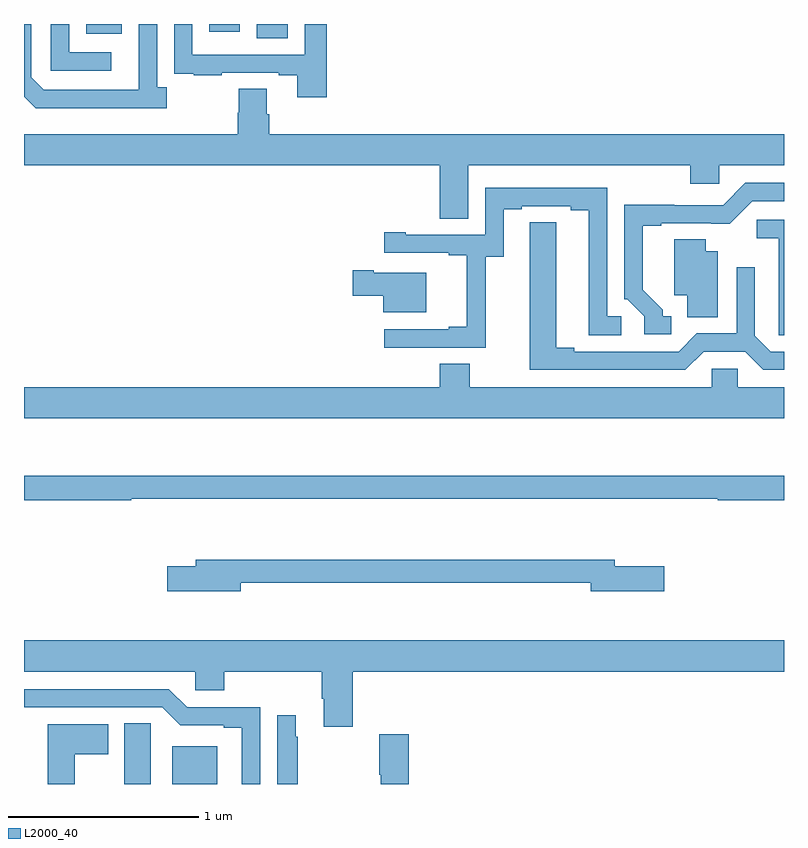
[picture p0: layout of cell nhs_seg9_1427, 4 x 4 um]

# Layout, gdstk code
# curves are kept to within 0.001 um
import gdstk
lib = gdstk.Library(unit=1e-6, precision=1e-09)
def R(c, l, rs):  # rectangles x0, y0, x1, y1
    for r in rs: c.add(gdstk.rectangle(r[:2], r[2:], *l))
def P(c, l, *ps):  # polygons
    for p in ps: c.add(gdstk.Polygon(p, *l))
L2000_40 = (2000, 40)

nhs_seg9_1427 = lib.new_cell('nhs_seg9_1427')
R(nhs_seg9_1427, L2000_40, [(191.78,1190.5,192.016,1190.698), (192.224,1194.424,192.388,1194.5), (191.327,1194.449,191.515,1194.5), (191.975,1194.459,192.136,1194.5)])
P(nhs_seg9_1427, L2000_40, [(192.593,1194.5),(192.477,1194.5),(192.477,1194.339),(191.886,1194.339),(191.886,1194.5),(191.79,1194.5),(191.79,1194.346),(191.791,1194.346),(191.791,1194.237),(191.893,1194.237),(191.893,1194.231),(192.041,1194.231),(192.041,1194.243),(192.341,1194.243),(192.341,1194.231),(192.437,1194.231),(192.437,1194.114),(192.593,1194.114)],
  [(191.458,1194.351),(191.238,1194.351),(191.238,1194.5),(191.142,1194.5),(191.142,1194.255),(191.458,1194.255)],
  [(191.752,1194.166),(191.7,1194.166),(191.7,1194.5),(191.604,1194.5),(191.603,1194.153),(191.103,1194.153),(191.037,1194.219),(191.037,1194.5),(191,1194.5),(191,1194.118),(191.062,1194.056),(191.752,1194.056)],
  [(193.339,1193.756),(194.507,1193.756),(194.507,1193.658),(194.658,1193.658),(194.658,1193.756),(195,1193.756),(195,1193.92),(192.29,1193.92),(192.29,1194.026),(192.277,1194.026),(192.277,1194.158),(192.13,1194.158),(192.13,1194.033),(192.125,1194.033),(192.125,1193.92),(191,1193.92),(191,1193.756),(193.187,1193.756),(193.187,1193.476),(193.339,1193.476)],
  [(194.407,1192.962),(194.362,1192.962),(194.362,1192.997),(194.257,1193.102),(194.257,1193.439),(194.353,1193.439),(194.353,1193.451),(194.714,1193.45),(194.832,1193.568),(195,1193.568),(195,1193.664),(194.796,1193.664),(194.679,1193.547),(194.423,1193.547),(194.423,1193.549),(194.16,1193.549),(194.16,1193.052),(194.175,1193.052),(194.265,1192.962),(194.265,1192.866),(194.407,1192.866)],
  [(193.431,1193.275),(193.525,1193.275),(193.525,1193.526),(193.621,1193.526),(193.621,1193.541),(193.877,1193.541),(193.877,1193.521),(193.973,1193.521),(193.973,1192.861),(194.143,1192.861),(194.143,1192.962),(194.07,1192.962),(194.07,1193.637),(193.428,1193.637),(193.428,1193.391),(193.009,1193.391),(193.009,1193.404),(192.897,1193.404),(192.897,1193.295),(193.235,1193.295),(193.235,1193.283),(193.331,1193.283),(193.331,1192.906),(193.235,1192.906),(193.235,1192.893),(192.897,1192.893),(192.897,1192.797),(193.431,1192.797)],
  [(195,1193.469),(194.856,1193.469),(194.856,1193.372),(194.972,1193.372),(194.972,1192.969),(194.973,1192.969),(194.973,1192.861),(195,1192.861)],
  [(194.577,1192.776),(194.795,1192.776),(194.891,1192.68),(195,1192.68),(195,1192.776),(194.931,1192.776),(194.847,1192.86),(194.847,1193.221),(194.751,1193.221),(194.751,1192.872),(194.541,1192.872),(194.445,1192.776),(193.897,1192.776),(193.897,1192.796),(193.801,1192.796),(193.801,1193.456),(193.662,1193.456),(193.661,1192.68),(194.481,1192.68)],
  [(194.65,1193.305),(194.587,1193.305),(194.587,1193.366),(194.423,1193.366),(194.423,1193.072),(194.492,1193.072),(194.492,1192.957),(194.65,1192.957)],
  [(193.117,1193.191),(192.841,1193.191),(192.841,1193.204),(192.729,1193.204),(192.729,1193.069),(192.89,1193.069),(192.89,1192.982),(193.117,1192.982)],
  [(195,1192.588),(194.757,1192.588),(194.757,1192.686),(194.619,1192.686),(194.619,1192.588),(193.347,1192.588),(193.347,1192.712),(193.187,1192.712),(193.187,1192.588),(191,1192.588),(191,1192.424),(195,1192.424)],
  [(191.564,1192.002),(194.65,1192.002),(194.65,1191.994),(195,1191.994),(195,1192.123),(191,1192.123),(191,1191.994),(191.564,1191.994)],
  [(192.142,1191.558),(193.982,1191.558),(193.982,1191.515),(194.371,1191.515),(194.371,1191.645),(194.11,1191.645),(194.11,1191.679),(191.903,1191.679),(191.903,1191.645),(191.754,1191.645),(191.754,1191.515),(192.142,1191.515)],
  [(192.731,1191.092),(195,1191.092),(195,1191.256),(191,1191.256),(191,1191.092),(191.901,1191.092),(191.901,1190.994),(192.053,1190.994),(192.053,1191.092),(192.566,1191.092),(192.566,1190.95),(192.578,1190.95),(192.578,1190.802),(192.731,1190.802)],
  [(192.243,1190.904),(191.859,1190.904),(191.763,1191),(191,1191),(191,1190.904),(191.727,1190.904),(191.823,1190.808),(192.05,1190.808),(192.05,1190.796),(192.146,1190.796),(192.146,1190.5),(192.243,1190.5)],
  [(192.442,1190.75),(192.43,1190.75),(192.43,1190.863),(192.333,1190.863),(192.333,1190.5),(192.442,1190.5)],
  [(191.668,1190.708),(191.667,1190.708),(191.667,1190.819),(191.528,1190.819),(191.528,1190.5),(191.668,1190.5)],
  [(191.266,1190.656),(191.443,1190.656),(191.443,1190.815),(191.126,1190.815),(191.126,1190.5),(191.266,1190.5)],
  [(193.025,1190.761),(192.871,1190.761),(192.871,1190.548),(192.878,1190.548),(192.878,1190.5),(193.025,1190.5)])

lib.write_gds('nhs_seg9_1427.gds')
